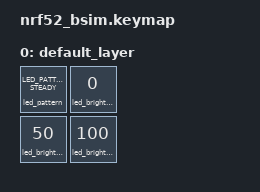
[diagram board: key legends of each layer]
/*
 * Copyright (c) 2026 amgskobo
 * SPDX-License-Identifier: MIT
 *
 * The battery path over BabbleSim. Both halves sample their battery every
 * second through the LED wrapper while the central holds the LED steady and
 * then steps it through 0, 50 and 100 percent; the peripheral follows by
 * mirror. The stand-in divider logs what it reads uncorrected, which moves
 * with the LED; the levels ZMK reports - each half's own and the
 * peripheral's as the central reads it over BLE - must not.
 */

#include <behaviors.dtsi>
#include <dt-bindings/zmk/keys.h>
#include <dt-bindings/zmk/kscan_mock.h>
#include <dt-bindings/zmk/led_pattern.h>
#include <zephyr/dt-bindings/gpio/gpio.h>

#include "shared.dtsi"

&kscan {
    /delete-property/ exit-after;
    events = <ZMK_MOCK_PRESS(0,0,5000) ZMK_MOCK_RELEASE(0,0,3000)
              ZMK_MOCK_PRESS(0,1,100) ZMK_MOCK_RELEASE(0,1,3000)
              ZMK_MOCK_PRESS(1,0,100) ZMK_MOCK_RELEASE(1,0,3000)
              ZMK_MOCK_PRESS(1,1,100) ZMK_MOCK_RELEASE(1,1,3000)>;
};

/ {
    keymap {
        compatible = "zmk,keymap";

        default_layer {
            bindings = <
            &led_pattern LED_PATTERN_STEADY &led_brightness 0
            &led_brightness 50              &led_brightness 100>;
        };
    };
};
